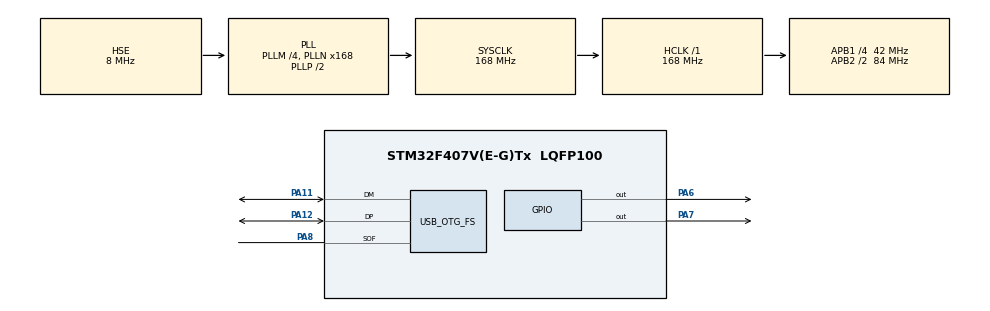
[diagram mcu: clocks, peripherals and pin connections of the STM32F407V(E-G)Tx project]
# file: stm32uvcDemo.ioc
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Mcu.Family=STM32F4
Mcu.Name=STM32F407V(E-G)Tx
Mcu.Package=LQFP100
NVIC.OTG_FS_IRQn=true\:0\:0\:false\:false\:true\:false\:true\:true
NVIC.PriorityGroup=NVIC_PRIORITYGROUP_4
PA11.Mode=Device_Only
PA11.Signal=USB_OTG_FS_DM
PA12.Mode=Device_Only
PA12.Signal=USB_OTG_FS_DP
PA6.Signal=GPIO_Output
PA7.Signal=GPIO_Output
PA8.Mode=Activate_SOF_FS
PA8.Signal=USB_OTG_FS_SOF
PC14-OSC32_IN.Mode=LSE-External-Oscillator
PC14-OSC32_IN.Signal=RCC_OSC32_IN
PC15-OSC32_OUT.Mode=LSE-External-Oscillator
PC15-OSC32_OUT.Signal=RCC_OSC32_OUT
PH0-OSC_IN.Mode=HSE-External-Oscillator
PH0-OSC_IN.Signal=RCC_OSC_IN
PH1-OSC_OUT.Mode=HSE-External-Oscillator
PH1-OSC_OUT.Signal=RCC_OSC_OUT
ProjectManager.HeapSize=0x200
ProjectManager.StackSize=0x400
ProjectManager.TargetToolchain=STM32CubeIDE
RCC.48MHZClocksFreq_Value=48000000
RCC.AHBFreq_Value=168000000
RCC.APB1CLKDivider=RCC_HCLK_DIV4
RCC.APB1Freq_Value=42000000
RCC.APB1TimFreq_Value=84000000
RCC.APB2CLKDivider=RCC_HCLK_DIV2
RCC.APB2Freq_Value=84000000
RCC.APB2TimFreq_Value=168000000
RCC.CortexFreq_Value=168000000
RCC.HCLKFreq_Value=168000000
RCC.HSE_VALUE=8000000
RCC.HSI_VALUE=16000000
RCC.PLLM=4
RCC.PLLN=168
RCC.PLLQ=7
RCC.SYSCLKFreq_VALUE=168000000
RCC.SYSCLKSource=RCC_SYSCLKSOURCE_PLLCLK
RCC.VCOOutputFreq_Value=336000000
USB_DEVICE.CLASS_NAME_FS=CDC
USB_DEVICE.CONFIGURATION_STRING_CDC_FS=Video Config
USB_DEVICE.INTERFACE_STRING_CDC_FS=Video Interface
USB_DEVICE.MANUFACTURER_STRING-CDC_FS=CITIZEN
USB_DEVICE.PID_CDC_FS=0x1706
USB_DEVICE.PRODUCT_STRING_CDC_FS=STM32 Video Demo
USB_DEVICE.VID-CDC_FS=0xC251
USB_DEVICE.VirtualMode-CDC_FS=Cdc
USB_DEVICE.VirtualModeFS=Cdc_FS
USB_OTG_FS.VirtualMode=Device_Only
VP_USB_DEVICE_VS_USB_DEVICE_CDC_FS.Mode=CDC_FS
board=custom

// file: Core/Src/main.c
/* USER CODE BEGIN Header */
/**
  ******************************************************************************
  * @file           : main.c
  * @brief          : Main program body
  ******************************************************************************
  * @attention
  *
  * Copyright (c) 2024 STMicroelectronics.
  * All rights reserved.
  *
  * This software is licensed under terms that can be found in the LICENSE file
  * in the root directory of this software component.
  * If no LICENSE file comes with this software, it is provided AS-IS.
  *
  ******************************************************************************
  */
/* USER CODE END Header */
#include "main.h"

/* USER CODE BEGIN Includes */
#include "usbd_core.h"
#include "usbd_desc.h"
#include "usbd_video_if.h"
/* USER CODE END Includes */

/* USER CODE BEGIN PV */
extern USBD_HandleTypeDef hUsbDeviceFS;
/* USER CODE END PV */

void SystemClock_Config(void);
static void MX_GPIO_Init(void);
/* USER CODE BEGIN PFP */
static void USB_DEVICE_Init(void);
/* USER CODE END PFP */

int main(void)
{

  /* MCU Configuration--------------------------------------------------------*/

  /* Reset of all peripherals, Initializes the Flash interface and the Systick. */
  HAL_Init();

  /* Configure the system clock */
  SystemClock_Config();

  /* Initialize all configured peripherals */
  MX_GPIO_Init();
  /* USER CODE BEGIN 2 */
  USB_DEVICE_Init();
  /* USER CODE END 2 */

  /* Infinite loop */
  while (1)
  {

    /* USER CODE BEGIN 3 */
	  HAL_GPIO_TogglePin(GPIOA, GPIO_PIN_6);
	  HAL_GPIO_TogglePin(GPIOA, GPIO_PIN_7);
	  HAL_Delay(1000);
}
  /* USER CODE END 3 */
}

void SystemClock_Config(void)
{
  RCC_OscInitTypeDef RCC_OscInitStruct = {0};
  RCC_ClkInitTypeDef RCC_ClkInitStruct = {0};

  /** Configure the main internal regulator output voltage
  */
  __HAL_RCC_PWR_CLK_ENABLE();
  __HAL_PWR_VOLTAGESCALING_CONFIG(PWR_REGULATOR_VOLTAGE_SCALE1);

  /** Initializes the RCC Oscillators according to the specified parameters
  * in the RCC_OscInitTypeDef structure.
  */
  RCC_OscInitStruct.OscillatorType = RCC_OSCILLATORTYPE_HSE;
  RCC_OscInitStruct.HSEState = RCC_HSE_ON;
  RCC_OscInitStruct.PLL.PLLState = RCC_PLL_ON;
  RCC_OscInitStruct.PLL.PLLSource = RCC_PLLSOURCE_HSE;
  RCC_OscInitStruct.PLL.PLLM = 4;
  RCC_OscInitStruct.PLL.PLLN = 168;
  RCC_OscInitStruct.PLL.PLLP = RCC_PLLP_DIV2;
  RCC_OscInitStruct.PLL.PLLQ = 7;
  if (HAL_RCC_OscConfig(&RCC_OscInitStruct) != HAL_OK)
  {
    Error_Handler();
  }

  /** Initializes the CPU, AHB and APB buses clocks
  */
  RCC_ClkInitStruct.ClockType = RCC_CLOCKTYPE_HCLK|RCC_CLOCKTYPE_SYSCLK
                              |RCC_CLOCKTYPE_PCLK1|RCC_CLOCKTYPE_PCLK2;
  RCC_ClkInitStruct.SYSCLKSource = RCC_SYSCLKSOURCE_PLLCLK;
  RCC_ClkInitStruct.AHBCLKDivider = RCC_SYSCLK_DIV1;
  RCC_ClkInitStruct.APB1CLKDivider = RCC_HCLK_DIV4;
  RCC_ClkInitStruct.APB2CLKDivider = RCC_HCLK_DIV2;

  if (HAL_RCC_ClockConfig(&RCC_ClkInitStruct, FLASH_LATENCY_5) != HAL_OK)
  {
    Error_Handler();
  }
}

static void MX_GPIO_Init(void)
{
  GPIO_InitTypeDef GPIO_InitStruct = {0};

  /* GPIO Ports Clock Enable */
  __HAL_RCC_GPIOC_CLK_ENABLE();
  __HAL_RCC_GPIOH_CLK_ENABLE();
  __HAL_RCC_GPIOA_CLK_ENABLE();

  /*Configure GPIO pin Output Level */
  HAL_GPIO_WritePin(GPIOA, GPIO_PIN_6|GPIO_PIN_7, GPIO_PIN_RESET);

  /*Configure GPIO pins : PA6 PA7 */
  GPIO_InitStruct.Pin = GPIO_PIN_6|GPIO_PIN_7;
  GPIO_InitStruct.Mode = GPIO_MODE_OUTPUT_PP;
  GPIO_InitStruct.Pull = GPIO_NOPULL;
  GPIO_InitStruct.Speed = GPIO_SPEED_FREQ_LOW;
  HAL_GPIO_Init(GPIOA, &GPIO_InitStruct);

}

/* USER CODE BEGIN 4 */
void USB_DEVICE_Init(void)
{
	  if (USBD_Init(&hUsbDeviceFS, &FS_Desc, DEVICE_FS) != USBD_OK)
	  {
	    Error_Handler();
	  }
	  if (USBD_RegisterClass(&hUsbDeviceFS, &USBD_VIDEO) != USBD_OK)
	  {
	    Error_Handler();
	  }
	  if (USBD_VIDEO_RegisterInterface(&hUsbDeviceFS, &USBD_VIDEO_fops_FS) != USBD_OK)
	  {
	    Error_Handler();
	  }
	  if (USBD_Start(&hUsbDeviceFS) != USBD_OK)
	  {
	    Error_Handler();
	  }
}
/* USER CODE END 4 */

void Error_Handler(void)
{
  __disable_irq();
  while (1)
  {
  }
}
